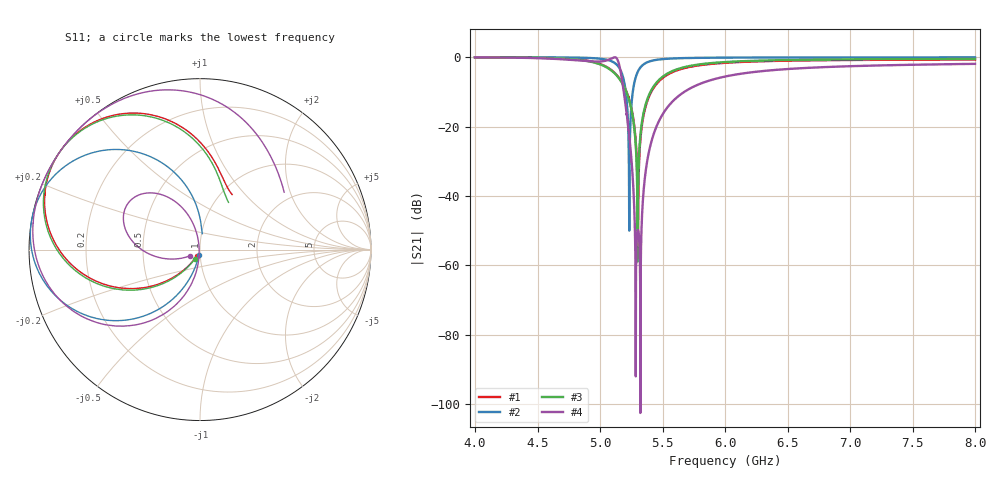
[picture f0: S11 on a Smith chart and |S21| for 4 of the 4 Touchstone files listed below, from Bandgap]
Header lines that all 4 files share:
! Sonnet Data File
! From: emgraph Version : 16.52
!< PARAMS
!< END PARAMS
# GHZ S MA R 50.00000
Fixed: Squiggle_length = 16.0
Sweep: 4 GHz to 8 GHz
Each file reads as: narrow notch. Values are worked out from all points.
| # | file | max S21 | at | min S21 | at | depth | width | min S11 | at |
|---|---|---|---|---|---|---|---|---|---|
| 1 | 170708_mm_squiggleX_Res5G_12.s2p | -0.01 dB | 4 GHz | -56.0 dB | 5.303 GHz | 55.2 dB | 22.2 MHz | -28.1 dB | 4 GHz |
| 2 | 171027_mm_squiggleX_Res5G_12_Odd2_WideRefT.s2p | 0.00 dB | 4 GHz | -50.0 dB | 5.234 GHz | 49.9 dB | 9.47 MHz | -30.2 dB | 4 GHz |
| 3 | 171106_xz_squiggleX_Res5G_12_EvenBrg_bfop.s2p | -0.02 dB | 4 GHz | -58.9 dB | 5.301 GHz | 58.3 dB | 18.6 MHz | -23.7 dB | 4 GHz |
| 4 | 171108_xz_squiggleX_Res5G_EvenDbnoBrg.s2p | 0.00 dB | 5.118 GHz | -102.6 dB | 5.323 GHz | 100.2 dB | 16.5 MHz | -46.2 dB | 5.118 GHz |
